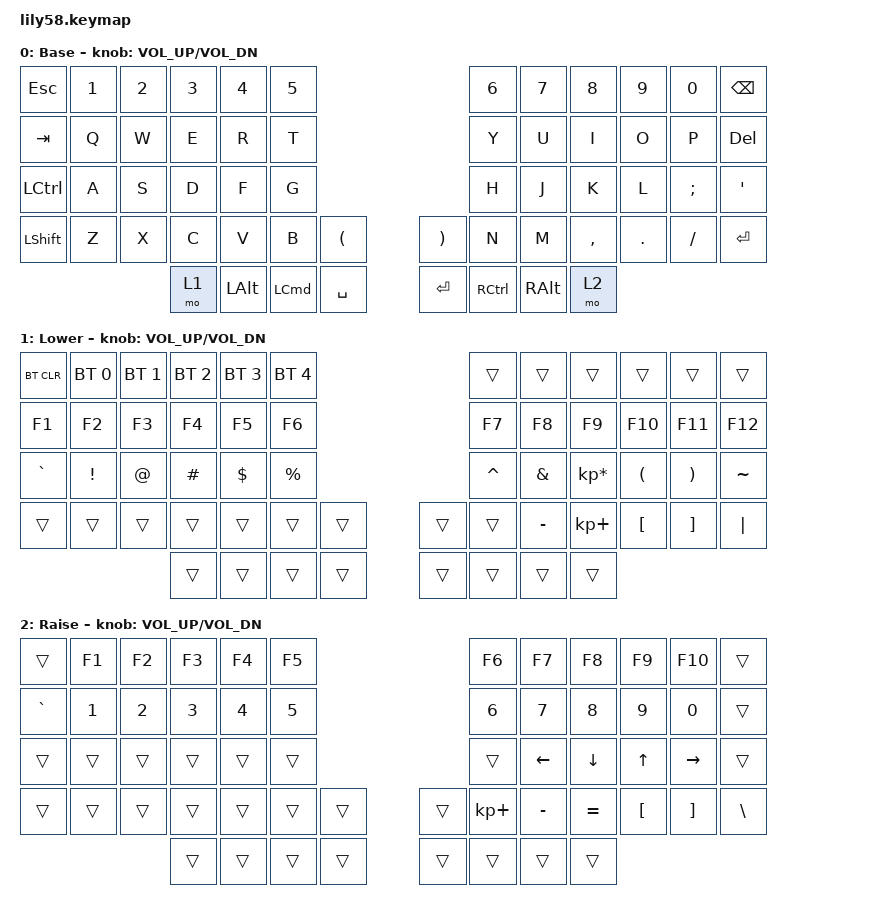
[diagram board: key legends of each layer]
/*
 * Copyright (c) 2020 The ZMK Contributors
 *
 * SPDX-License-Identifier: MIT
 */

#include <behaviors.dtsi>
#include <dt-bindings/zmk/bt.h>
#include <dt-bindings/zmk/keys.h>

/ {
    keymap {
        compatible = "zmk,keymap";

        default_layer {
            // ------------------------------------------------------------------------------------------------------------
            // |  ESC  |  1  |  2  |  3   |  4   |  5   |                   |  6   |  7    |  8    |  9   |   0   |   `   |
            // |  TAB  |  Q  |  W  |  E   |  R   |  T   |                   |  Y   |  U    |  I    |  O   |   P   |   -   |
            // |  CTRL |  A  |  S  |  D   |  F   |  G   |                   |  H   |  J    |  K    |  L   |   ;   |   '   |
            // | SHIFT |  Z  |  X  |  C   |  V   |  B   |   "["  |  |  "]"  |  N   |  M    |  ,    |  .   |   /   | SHIFT |
            //                     | ALT  | GUI  | LOWER|  SPACE |  | ENTER | RAISE| BSPC  | GUI   |

            display-name = "Base";
            bindings = <
&kp ESC    &kp N1  &kp N2  &kp N3  &kp N4    &kp N5                                                           &kp N6     &kp N7         &kp N8     &kp N9   &kp N0         &kp BACKSPACE
&kp TAB    &kp Q   &kp W   &kp E   &kp R     &kp T                                                            &kp Y      &kp U          &kp I      &kp O    &kp P          &kp DELETE
&kp LCTRL  &kp A   &kp S   &kp D   &kp F     &kp G                                                            &kp H      &kp J          &kp K      &kp L    &kp SEMICOLON  &kp SQT
&kp LSHFT  &kp Z   &kp X   &kp C   &kp V     &kp B             &kp LEFT_PARENTHESIS    &kp RIGHT_PARENTHESIS  &kp N      &kp M          &kp COMMA  &kp DOT  &kp FSLH       &kp ENTER
                           &mo 1   &kp LALT  &kp LEFT_COMMAND  &kp SPACE               &kp RET                &kp RCTRL  &kp RIGHT_ALT  &mo 2
            >;

            sensor-bindings = <&inc_dec_kp C_VOL_UP C_VOL_DN>;
        };

        lower_layer {
            // ------------------------------------------------------------------------------------------------------------
            // | BTCLR | BT1 | BT2 |  BT3 |  BT4 |  BT5 |                   |      |       |       |      |       |       |
            // |  F1   |  F2 |  F3 |  F4  |  F5  |  F6  |                   |  F7  |  F8   |  F9   |  F10 |  F11  |  F12  |
            // |   `   |  !  |  @  |  #   |  $   |  %   |                   |  ^   |  &    |  *    |  (   |   )   |   ~   |
            // |       |     |     |      |      |      |        |  |       |      |  _    |  +    |  {   |   }   |  "|"  |
            //                     |      |      |      |        |  |       |      |       |       |

            display-name = "Lower";
            bindings = <
&bt BT_CLR  &bt BT_SEL 0  &bt BT_SEL 1  &bt BT_SEL 2  &bt BT_SEL 3  &bt BT_SEL 4                    &trans     &trans     &trans           &trans                &trans                 &trans
&kp F1      &kp F2        &kp F3        &kp F4        &kp F5        &kp F6                          &kp F7     &kp F8     &kp F9           &kp F10               &kp F11                &kp F12
&kp GRAVE   &kp EXCL      &kp AT        &kp HASH      &kp DOLLAR    &kp PRCNT                       &kp CARET  &kp AMPS   &kp KP_MULTIPLY  &kp LEFT_PARENTHESIS  &kp RIGHT_PARENTHESIS  &kp TILDE
&trans      &trans        &trans        &trans        &trans        &trans        &trans    &trans  &trans     &kp MINUS  &kp KP_PLUS      &kp LEFT_BRACKET      &kp RIGHT_BRACKET      &kp PIPE
                                        &trans        &trans        &trans        &trans    &trans  &trans     &trans     &trans
            >;

            sensor-bindings = <&inc_dec_kp C_VOL_UP C_VOL_DN>;
        };

        raise_layer {
            // ------------------------------------------------------------------------------------------------------------
            // |       |     |     |      |      |      |                   |      |       |       |      |       |       |
            // |   `   |  1  |  2  |  3   |  4   |  5   |                   |  6   |   7   |   8   |  9   |   0   |       |
            // |   F1  |  F2 |  F3 |  F4  |  F5  |  F6  |                   |      |   <-  |   v   |  ^   |  ->   |       |
            // |   F7  |  F8 |  F9 |  F10 |  F11 |  F12 |        |  |       |  +   |   -   |   =   |  [   |   ]   |   \   |
            //                     |      |      |      |        |  |       |      |       |       |

            display-name = "Raise";
            bindings = <
&trans     &kp F1  &kp F2  &kp F3  &kp F4  &kp F5                    &kp F6       &kp F7     &kp F8     &kp F9    &kp F10    &trans
&kp GRAVE  &kp N1  &kp N2  &kp N3  &kp N4  &kp N5                    &kp N6       &kp N7     &kp N8     &kp N9    &kp N0     &trans
&trans     &trans  &trans  &trans  &trans  &trans                    &trans       &kp LEFT   &kp DOWN   &kp UP    &kp RIGHT  &trans
&trans     &trans  &trans  &trans  &trans  &trans  &trans    &trans  &kp KP_PLUS  &kp MINUS  &kp EQUAL  &kp LBKT  &kp RBKT   &kp BSLH
                           &trans  &trans  &trans  &trans    &trans  &trans       &trans     &trans
            >;

            sensor-bindings = <&inc_dec_kp C_VOL_UP C_VOL_DN>;
        };
    };
};
